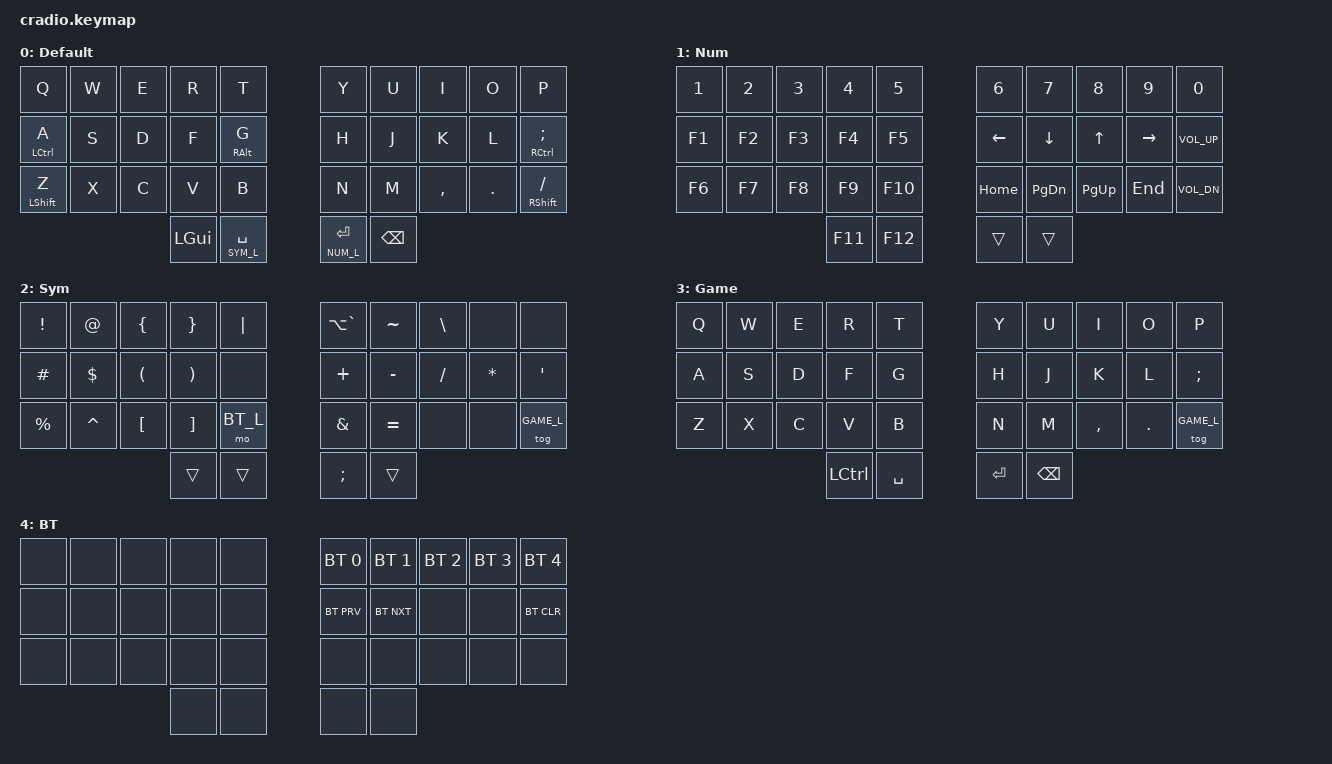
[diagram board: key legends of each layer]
#include <behaviors.dtsi>
#include <dt-bindings/zmk/keys.h>
#include <dt-bindings/zmk/bt.h>

#define NUM_L 1
#define SYM_L 2
#define GAME_L 3
#define BT_L 4

nice_view_spi: &spi0 {
  sck-pin = <34>;
  mosi-pin = <39>;
  cs-gpios = <&gpio1 1 GPIO_ACTIVE_HIGH>;
};

// Using layer taps on thumbs, having quick tap as well helps w/ repeating space/backspace
&lt { quick-tap-ms = <200>; };

/ {
  behaviors {
    hm: homerow_mods {
      compatible = "zmk,behavior-hold-tap";
      #binding-cells = <2>;
      tapping-term-ms = <200>;
      quick-tap-ms = <0>;
      flavor = "tap-preferred";
      bindings = <&kp>, <&kp>;
    };
  };

  combos {
    compatible = "zmk,combos";

    esc {
      timeout-ms = <50>;
      key-positions = <1 2>;
      layers = <0>;
      bindings = <&kp ESC>;
    };

    backspace {
      timeout-ms = <50>;
      key-positions = <11 12>;
      layers = <0>;
      bindings = <&kp BACKSPACE>;
    };

    tab {
      timeout-ms = <50>;
      key-positions = <12 13>;
      layers = <0>;
      bindings = <&kp TAB>;
    };

    less_than {
      timeout-ms = <50>;
      key-positions = <15 16>;
      layers = <0>;
      bindings = <&kp LESS_THAN>;
    };

    colon {
      timeout-ms = <50>;
      key-positions = <16 17>;
      layers = <0>;
      bindings = <&kp COLON>;
    };

    greater_than {
      timeout-ms = <50>;
      key-positions = <17 18>;
      layers = <0>;
      bindings = <&kp GREATER_THAN>;
    };

    enter {
      timeout-ms = <50>;
      key-positions = <22 23>;
      layers = <0>;
      bindings = <&kp ENTER>;
    };

    single_quote {
      timeout-ms = <50>;
      key-positions = <25 26>;
      layers = <0>;
      bindings = <&kp SINGLE_QUOTE>;
    };

    underscore {
      timeout-ms = <50>;
      key-positions = <26 27>;
      layers = <0>;
      bindings = <&kp UNDERSCORE>;
    };
  };

  keymap {
    compatible = "zmk,keymap";

    default_layer {
      display-name = "Default";
      bindings = <
        &kp Q        &kp W  &kp E  &kp R     &kp T                &kp Y            &kp U     &kp I      &kp O    &kp P
        &hm LCTRL A  &kp S  &kp D  &kp F     &hm RALT G           &kp H            &kp J     &kp K      &kp L    &hm RCTRL SEMI
        &hm LSHFT Z  &kp X  &kp C  &kp V     &kp B                &kp N            &kp M     &kp COMMA  &kp DOT  &hm RSHFT FSLH
                                   &kp LGUI  &lt SYM_L SPACE      &lt NUM_L ENTER  &kp BKSP
      >;
    };

    num_layer {
      display-name = "Num";
      bindings = <
        &kp N1  &kp N2  &kp N3  &kp N4   &kp N5       &kp N6    &kp N7     &kp N8     &kp N9     &kp N0
        &kp F1  &kp F2  &kp F3  &kp F4   &kp F5       &kp LEFT  &kp DOWN   &kp UP     &kp RIGHT  &kp C_VOL_UP
        &kp F6  &kp F7  &kp F8  &kp F9   &kp F10      &kp HOME  &kp PG_DN  &kp PG_UP  &kp END    &kp C_VOL_DN
                                &kp F11  &kp F12      &trans    &trans
      >;
    };

    sym_layer {
      display-name = "Sym";
      bindings = <
        &kp EXCL   &kp AT     &kp LBRC  &kp RBRC   &kp PIPE      &kp LA(GRAVE)  &kp TILDE  &kp BSLH  &none     &none
        &kp HASH   &kp DLLR   &kp LPAR  &kp RPAR   &none         &kp PLUS       &kp MINUS  &kp FSLH  &kp STAR  &kp SQT
        &kp PRCNT  &kp CARET  &kp LBKT  &kp RBKT   &mo BT_L      &kp AMPS       &kp EQUAL  &none     &none     &tog GAME_L
                                        &trans     &trans        &kp SEMI       &trans
      >;
    };

    game_layer {
      display-name = "Game";
      bindings = <
        &kp Q  &kp W  &kp E  &kp R      &kp T           &kp Y      &kp U     &kp I      &kp O    &kp P
        &kp A  &kp S  &kp D  &kp F      &kp G           &kp H      &kp J     &kp K      &kp L    &kp SEMI
        &kp Z  &kp X  &kp C  &kp V      &kp B           &kp N      &kp M     &kp COMMA  &kp DOT  &tog GAME_L
                             &kp LCTRL  &kp SPACE       &kp ENTER  &kp BKSP
      >;
    };

    bt_layer {
      display-name = "BT";
      bindings = <
        &none  &none  &none  &none  &none      &bt BT_SEL 0  &bt BT_SEL 1  &bt BT_SEL 2  &bt BT_SEL 3  &bt BT_SEL 4
        &none  &none  &none  &none  &none      &bt BT_PRV    &bt BT_NXT    &none         &none         &bt BT_CLR
        &none  &none  &none  &none  &none      &none         &none         &none         &none         &none
                             &none  &none      &none         &none
      >;
    };
  };
};
